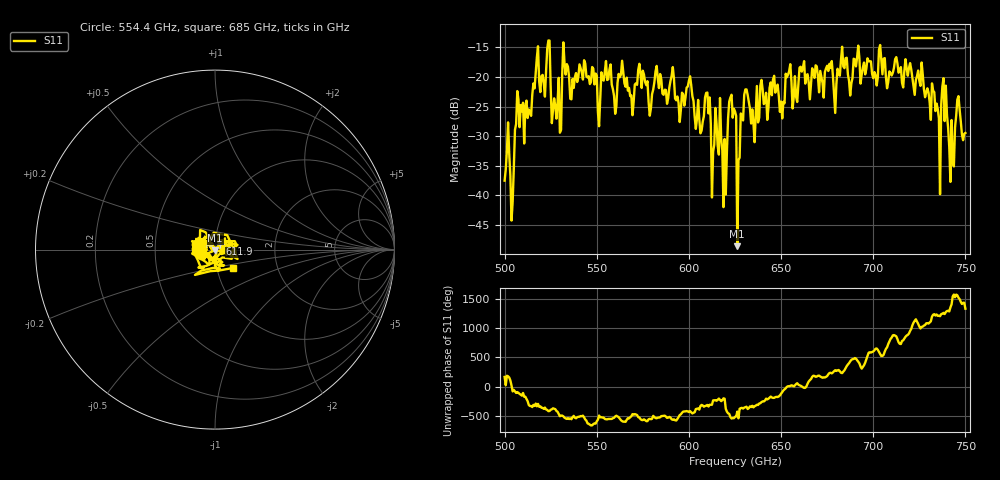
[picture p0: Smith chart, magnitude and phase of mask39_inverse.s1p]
!Created with skrf (http://scikit-rf.org).
# GHz S MA R 50.0
!freq magS11 angS11
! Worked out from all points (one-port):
!   401 points, 500 GHz to 750 GHz, reference 50 ohm
!   lowest |S11| = -48.6 dB at 626.2 GHz (marker M1), VSWR 1.01, Z = 50.1 - j0.349 ohm
!   |S11| at or under -10 dB: start of sweep to end of sweep
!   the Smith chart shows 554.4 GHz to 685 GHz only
!   S11 on the Smith chart (normalised r, x): 554.4 GHz: 0.81, +0.05; 611.9 GHz: 1.05, +0.06; 685 GHz: 1.20, -0.25
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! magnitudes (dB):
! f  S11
! 500 GHz  -37.5
! 503.8 GHz  -44.3
! 506.9 GHz  -22.4
! 513.8 GHz  -26.0
! 516.9 GHz  -19.3
! 523.8 GHz  -13.8
! 526.9 GHz  -23.6
! 531.2 GHz  -19.6
! 554.4 GHz  -19.1
! 562.5 GHz  -20.1
! 593.8 GHz  -23.3
! 610 GHz  -22.6
! 611.9 GHz  -27.9
! 619.4 GHz  -30.5
! 623.1 GHz  -23.0
! 625 GHz  -25.8
! 626.2 GHz  -48.6
! 631.2 GHz  -22.1
! 635 GHz  -27.8
! 656.2 GHz  -25.3
! 685 GHz  -16.8
! 687.5 GHz  -23.1
! 718.8 GHz  -19.8
! 735 GHz  -25.4
! 738.8 GHz  -27.5
! 742.5 GHz  -27.3
! 745.6 GHz  -23.8
! 750 GHz  -29.5
